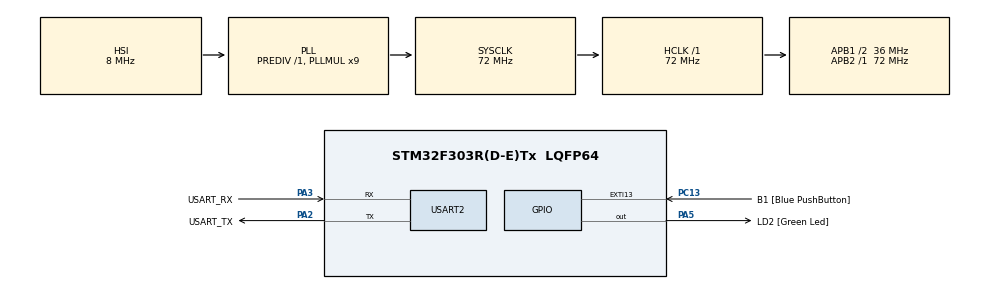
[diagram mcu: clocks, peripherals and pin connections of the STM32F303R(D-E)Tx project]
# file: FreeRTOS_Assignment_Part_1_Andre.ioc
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FREERTOS.Mutexes01=BlockSprinkler1,Dynamic,NULL;BlockScene2,Dynamic,NULL;BlockScene1,Dynamic,NULL;BlockScene3,Dynamic,NULL;BlockSprinkler2,Dynamic,NULL;BlockSprinkler3,Dynamic,NULL
FREERTOS.Queues01=myQueue01,16,uint16_t,0,Dynamic,NULL,NULL;myQueue02,16,uint16_t,0,Dynamic,NULL,NULL
FREERTOS.Tasks01=StartTerminal,24,128,Terminal,Default,NULL,Dynamic,NULL,NULL;StartScene,24,128,execScene,Default,NULL,Dynamic,NULL,NULL
FREERTOS.configUSE_NEWLIB_REENTRANT=1
Mcu.Family=STM32F3
Mcu.Name=STM32F303R(D-E)Tx
Mcu.Package=LQFP64
NVIC.PriorityGroup=NVIC_PRIORITYGROUP_4
NVIC.TIM6_DAC_IRQn=true\:15\:0\:false\:false\:true\:false\:false\:true\:true
NVIC.TimeBase=TIM6_DAC_IRQn
NVIC.TimeBaseIP=TIM6
PA13.GPIO_Label=TMS
PA13.Mode=Serial_Wire
PA13.Signal=SYS_JTMS-SWDIO
PA14.GPIO_Label=TCK
PA14.Mode=Serial_Wire
PA14.Signal=SYS_JTCK-SWCLK
PA2.GPIO_Label=USART_TX
PA2.GPIO_Mode=GPIO_MODE_AF_PP
PA2.GPIO_PuPd=GPIO_NOPULL
PA2.GPIO_Speed=GPIO_SPEED_FREQ_LOW
PA2.Mode=Asynchronous
PA2.Signal=USART2_TX
PA3.GPIO_Label=USART_RX
PA3.GPIO_Mode=GPIO_MODE_AF_PP
PA3.GPIO_PuPd=GPIO_NOPULL
PA3.GPIO_Speed=GPIO_SPEED_FREQ_LOW
PA3.Mode=Asynchronous
PA3.Signal=USART2_RX
PA5.GPIO_Label=LD2 [Green Led]
PA5.GPIO_Mode=GPIO_MODE_OUTPUT_PP
PA5.GPIO_PuPd=GPIO_NOPULL
PA5.GPIO_Speed=GPIO_SPEED_FREQ_LOW
PA5.Signal=GPIO_Output
PB3.GPIO_Label=SWO
PB3.Signal=SYS_JTDO-TRACESWO
PC13.GPIO_Label=B1 [Blue PushButton]
PC13.GPIO_ModeDefaultEXTI=GPIO_MODE_IT_FALLING
PC13.Signal=GPXTI13
PC14-OSC32_IN.Mode=LSE-External-Oscillator
PC14-OSC32_IN.Signal=RCC_OSC32_IN
PC15-OSC32_OUT.Mode=LSE-External-Oscillator
PC15-OSC32_OUT.Signal=RCC_OSC32_OUT
PF0-OSC_IN.Mode=HSE-External-Clock-Source
PF0-OSC_IN.Signal=RCC_OSC_IN
PF1-OSC_OUT.Signal=RCC_OSC_OUT
ProjectManager.HeapSize=0x200
ProjectManager.StackSize=0x400
ProjectManager.TargetToolchain=STM32CubeIDE
RCC.AHBFreq_Value=72000000
RCC.APB1CLKDivider=RCC_HCLK_DIV2
RCC.APB1Freq_Value=36000000
RCC.APB1TimFreq_Value=72000000
RCC.APB2Freq_Value=72000000
RCC.APB2TimFreq_Value=72000000
RCC.CortexFreq_Value=72000000
RCC.HCLKFreq_Value=72000000
RCC.HSE_VALUE=8000000
RCC.HSI_VALUE=8000000
RCC.PLLM=8
RCC.PLLMUL=RCC_PLL_MUL9
RCC.PLLN=336
RCC.PLLP=RCC_PLLP_DIV4
RCC.PLLQ=7
RCC.RCC_PLLsource_Clock_Source_FROM_HSE=RCC_HSE_PREDIV_DIV2
RCC.SYSCLKFreq_VALUE=72000000
RCC.SYSCLKSourceVirtual=RCC_SYSCLKSOURCE_PLLCLK
RCC.USBFreq_Value=72000000
USART2.VirtualMode-Asynchronous=VM_ASYNC
VP_FREERTOS_VS_CMSIS_V2.Mode=CMSIS_V2
VP_SYS_VS_tim6.Mode=TIM6
board=NUCLEO-F303RE

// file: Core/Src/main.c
/* USER CODE BEGIN Header */
/**
  ******************************************************************************
  * @file           : main.c
  * @brief          : Main program body
  ******************************************************************************
  * @attention
  *
  * Copyright (c) 2022 STMicroelectronics.
  * All rights reserved.
  *
  * This software is licensed under terms that can be found in the LICENSE file
  * in the root directory of this software component.
  * If no LICENSE file comes with this software, it is provided AS-IS.
  *
  ******************************************************************************
  */
/* USER CODE END Header */
#include "main.h"
#include "cmsis_os.h"

/* USER CODE BEGIN Includes */
#include "stdio.h"
#include "string.h"
/* USER CODE END Includes */

UART_HandleTypeDef huart2;

/* Definitions for StartTerminal */
osThreadId_t StartTerminalHandle;
const osThreadAttr_t StartTerminal_attributes = {
  .name = "StartTerminal",
  .stack_size = 128 * 4,
  .priority = (osPriority_t) osPriorityNormal,
};
/* Definitions for StartScene */
osThreadId_t StartSceneHandle;
const osThreadAttr_t StartScene_attributes = {
  .name = "StartScene",
  .stack_size = 128 * 4,
  .priority = (osPriority_t) osPriorityNormal,
};
/* Definitions for myQueue01 */
osMessageQueueId_t myQueue01Handle;
const osMessageQueueAttr_t myQueue01_attributes = {
  .name = "myQueue01"
};
/* Definitions for myQueue02 */
osMessageQueueId_t myQueue02Handle;
const osMessageQueueAttr_t myQueue02_attributes = {
  .name = "myQueue02"
};
/* Definitions for BlockSprinkler1 */
osMutexId_t BlockSprinkler1Handle;
const osMutexAttr_t BlockSprinkler1_attributes = {
  .name = "BlockSprinkler1"
};
/* Definitions for BlockScene2 */
osMutexId_t BlockScene2Handle;
const osMutexAttr_t BlockScene2_attributes = {
  .name = "BlockScene2"
};
/* Definitions for BlockScene1 */
osMutexId_t BlockScene1Handle;
const osMutexAttr_t BlockScene1_attributes = {
  .name = "BlockScene1"
};
/* Definitions for BlockScene3 */
osMutexId_t BlockScene3Handle;
const osMutexAttr_t BlockScene3_attributes = {
  .name = "BlockScene3"
};
/* Definitions for BlockSprinkler2 */
osMutexId_t BlockSprinkler2Handle;
const osMutexAttr_t BlockSprinkler2_attributes = {
  .name = "BlockSprinkler2"
};
/* Definitions for BlockSprinkler3 */
osMutexId_t BlockSprinkler3Handle;
const osMutexAttr_t BlockSprinkler3_attributes = {
  .name = "BlockSprinkler3"
};
/* USER CODE BEGIN PV */

enum task_name {
	SPRINKLER1HIGH,
	SPRINKLER2HIGH,
	SPRINKLER3HIGH,
	SPRINKLER1LOW,
	SPRINKLER2LOW,
	SPRINKLER3LOW,
	DELAY,
};

uint8_t Scene1[] = {SPRINKLER1HIGH, DELAY, SPRINKLER1LOW, SPRINKLER2HIGH, DELAY, SPRINKLER2LOW};
uint8_t Scene2[] = {SPRINKLER2HIGH, DELAY, SPRINKLER2LOW, SPRINKLER3HIGH, DELAY, SPRINKLER3LOW};
uint8_t Scene3[] = {SPRINKLER3HIGH, DELAY, SPRINKLER3LOW, SPRINKLER2HIGH, DELAY, SPRINKLER2LOW};

#define ARRAY_SIZE 6

/* USER CODE END PV */

void SystemClock_Config(void);
static void MX_GPIO_Init(void);
static void MX_USART2_UART_Init(void);
void Terminal(void *argument);
void execScene(void *argument);

/* USER CODE BEGIN PFP */
//*****************************************************************************
//                             GPIO PIN CONFIG
void SetMode(GPIO_TypeDef *, uint8_t, uint8_t);
void SetType(GPIO_TypeDef *, uint8_t, uint8_t);
void SetSpeed(GPIO_TypeDef *, uint8_t, uint8_t);
void SetPullType(GPIO_TypeDef *, uint8_t, uint8_t);
void SetPin(GPIO_TypeDef *, uint8_t, uint8_t, uint8_t, uint8_t, uint8_t);
osStatus_t BlockSprinkler1;
osStatus_t BlockSprinkler2;
osStatus_t BlockSprinkler3;
osStatus_t BlockScene1;
osStatus_t BlockScene2;
osStatus_t BlockScene3;

/* USER CODE END PFP */

int main(void)
{
  /* USER CODE BEGIN 1 */
	RCC->AHBENR |= RCC_AHBENR_GPIOAEN; 	//enable the bus for port A.
	RCC->AHBENR |= RCC_AHBENR_GPIOBEN; 	//enable the bus for port B.
	RCC->AHBENR |= RCC_AHBENR_GPIOCEN; 	//enable the bus for port C.

	SetPin(GPIOC, 7, OUTPUT, PUSHPULL, LOWSPEED, NOPULL); 	// (PC7) LED0
	SetPin(GPIOB, 5, OUTPUT, PUSHPULL, LOWSPEED, NOPULL); 	// (PB5) LED1
	SetPin(GPIOA, 10, OUTPUT, PUSHPULL, LOWSPEED, NOPULL); 	// (PA10) LED2

  /* USER CODE END 1 */

  /* MCU Configuration--------------------------------------------------------*/

  /* Reset of all peripherals, Initializes the Flash interface and the Systick. */
  HAL_Init();

  /* Configure the system clock */
  SystemClock_Config();

  /* Initialize all configured peripherals */
  MX_GPIO_Init();
  MX_USART2_UART_Init();

  /* Init scheduler */
  osKernelInitialize();
  /* Create the mutex(es) */
  /* creation of BlockSprinkler1 */
  BlockSprinkler1Handle = osMutexNew(&BlockSprinkler1_attributes);

  /* creation of BlockScene2 */
  BlockScene2Handle = osMutexNew(&BlockScene2_attributes);

  /* creation of BlockScene1 */
  BlockScene1Handle = osMutexNew(&BlockScene1_attributes);

  /* creation of BlockScene3 */
  BlockScene3Handle = osMutexNew(&BlockScene3_attributes);

  /* creation of BlockSprinkler2 */
  BlockSprinkler2Handle = osMutexNew(&BlockSprinkler2_attributes);

  /* creation of BlockSprinkler3 */
  BlockSprinkler3Handle = osMutexNew(&BlockSprinkler3_attributes);

  /* Create the queue(s) */
  /* creation of myQueue01 */
  myQueue01Handle = osMessageQueueNew (1000, sizeof(uint16_t), &myQueue01_attributes);

  /* creation of myQueue02 */
  myQueue02Handle = osMessageQueueNew (1000, sizeof(uint16_t), &myQueue02_attributes);

  /* Create the thread(s) */
  /* creation of StartTerminal */
  StartTerminalHandle = osThreadNew(Terminal, NULL, &StartTerminal_attributes);

  /* creation of StartScene */
  StartSceneHandle = osThreadNew(execScene, NULL, &StartScene_attributes);

  /* Start scheduler */
  osKernelStart();

  /* We should never get here as control is now taken by the scheduler */
  /* Infinite loop */
  while (1)
  {

  }
}

void SystemClock_Config(void)
{
  RCC_OscInitTypeDef RCC_OscInitStruct = {0};
  RCC_ClkInitTypeDef RCC_ClkInitStruct = {0};
  RCC_PeriphCLKInitTypeDef PeriphClkInit = {0};

  /** Initializes the RCC Oscillators according to the specified parameters
  * in the RCC_OscInitTypeDef structure.
  */
  RCC_OscInitStruct.OscillatorType = RCC_OSCILLATORTYPE_HSI;
  RCC_OscInitStruct.HSIState = RCC_HSI_ON;
  RCC_OscInitStruct.HSICalibrationValue = RCC_HSICALIBRATION_DEFAULT;
  RCC_OscInitStruct.PLL.PLLState = RCC_PLL_ON;
  RCC_OscInitStruct.PLL.PLLSource = RCC_PLLSOURCE_HSI;
  RCC_OscInitStruct.PLL.PLLMUL = RCC_PLL_MUL9;
  RCC_OscInitStruct.PLL.PREDIV = RCC_PREDIV_DIV1;
  if (HAL_RCC_OscConfig(&RCC_OscInitStruct) != HAL_OK)
  {
    Error_Handler();
  }

  /** Initializes the CPU, AHB and APB buses clocks
  */
  RCC_ClkInitStruct.ClockType = RCC_CLOCKTYPE_HCLK|RCC_CLOCKTYPE_SYSCLK
                              |RCC_CLOCKTYPE_PCLK1|RCC_CLOCKTYPE_PCLK2;
  RCC_ClkInitStruct.SYSCLKSource = RCC_SYSCLKSOURCE_PLLCLK;
  RCC_ClkInitStruct.AHBCLKDivider = RCC_SYSCLK_DIV1;
  RCC_ClkInitStruct.APB1CLKDivider = RCC_HCLK_DIV2;
  RCC_ClkInitStruct.APB2CLKDivider = RCC_HCLK_DIV1;

  if (HAL_RCC_ClockConfig(&RCC_ClkInitStruct, FLASH_LATENCY_2) != HAL_OK)
  {
    Error_Handler();
  }
  PeriphClkInit.PeriphClockSelection = RCC_PERIPHCLK_USART2;
  PeriphClkInit.Usart2ClockSelection = RCC_USART2CLKSOURCE_PCLK1;
  if (HAL_RCCEx_PeriphCLKConfig(&PeriphClkInit) != HAL_OK)
  {
    Error_Handler();
  }
}

static void MX_USART2_UART_Init(void)
{

  huart2.Instance = USART2;
  huart2.Init.BaudRate = 38400;
  huart2.Init.WordLength = UART_WORDLENGTH_8B;
  huart2.Init.StopBits = UART_STOPBITS_1;
  huart2.Init.Parity = UART_PARITY_NONE;
  huart2.Init.Mode = UART_MODE_TX_RX;
  huart2.Init.HwFlowCtl = UART_HWCONTROL_NONE;
  huart2.Init.OverSampling = UART_OVERSAMPLING_16;
  huart2.Init.OneBitSampling = UART_ONE_BIT_SAMPLE_DISABLE;
  huart2.AdvancedInit.AdvFeatureInit = UART_ADVFEATURE_NO_INIT;
  if (HAL_UART_Init(&huart2) != HAL_OK)
  {
    Error_Handler();
  }

}

static void MX_GPIO_Init(void)
{
  GPIO_InitTypeDef GPIO_InitStruct = {0};

  /* GPIO Ports Clock Enable */
  __HAL_RCC_GPIOC_CLK_ENABLE();
  __HAL_RCC_GPIOF_CLK_ENABLE();
  __HAL_RCC_GPIOA_CLK_ENABLE();
  __HAL_RCC_GPIOB_CLK_ENABLE();

  /*Configure GPIO pin Output Level */
  HAL_GPIO_WritePin(LD2_GPIO_Port, LD2_Pin, GPIO_PIN_RESET);

  /*Configure GPIO pin : B1_Pin */
  GPIO_InitStruct.Pin = B1_Pin;
  GPIO_InitStruct.Mode = GPIO_MODE_IT_FALLING;
  GPIO_InitStruct.Pull = GPIO_NOPULL;
  HAL_GPIO_Init(B1_GPIO_Port, &GPIO_InitStruct);

  /*Configure GPIO pin : LD2_Pin */
  GPIO_InitStruct.Pin = LD2_Pin;
  GPIO_InitStruct.Mode = GPIO_MODE_OUTPUT_PP;
  GPIO_InitStruct.Pull = GPIO_NOPULL;
  GPIO_InitStruct.Speed = GPIO_SPEED_FREQ_LOW;
  HAL_GPIO_Init(LD2_GPIO_Port, &GPIO_InitStruct);

}

/* USER CODE BEGIN 4 */

//*****************************************************************************
//                         Register settings for GPIO
void SetMode(GPIO_TypeDef * PORT, uint8_t pin, uint8_t mode){
	PORT->MODER |= (mode << (pin * 2)); // Times 2 because register occupies 2 bits for each MODER.
}

void SetType(GPIO_TypeDef * PORT, uint8_t pin, uint8_t type){
	PORT->OTYPER |= (type << pin);
}

void SetSpeed(GPIO_TypeDef * PORT, uint8_t pin, uint8_t speed){
	PORT->OSPEEDR |= (speed << (pin * 2));
}

void SetPullType(GPIO_TypeDef * PORT, uint8_t pin, uint8_t pulltype){
	PORT->PUPDR |= (pulltype << (pin * 2));
}

void SetPin(GPIO_TypeDef * PORT, uint8_t pin, uint8_t mode, uint8_t type, uint8_t speed, uint8_t pulltype){

	SetMode(PORT, pin, mode);
	SetType(PORT, pin, type);
	SetSpeed(PORT, pin, speed);
	SetPullType(PORT, pin, pulltype);
}

void Tasks(uint8_t msg_ptr)
{
	osStatus_t status;
	status = osMessageQueueGet(myQueue02Handle, &msg_ptr, 0U, 0U);   // wait for message
		if (status == osOK) {
			switch (msg_ptr) {
				case SPRINKLER1HIGH:
					BlockSprinkler1 = osMutexAcquire(BlockSprinkler1Handle, 0U);

					if (BlockSprinkler1 == osOK)
					GPIOA->BSRR |= GPIO_BSRR_BS_10;
					break;
				case SPRINKLER2HIGH:
					BlockSprinkler2 = osMutexAcquire(BlockSprinkler2Handle, 0U);

					if (BlockSprinkler2 == osOK)
					GPIOB->BSRR |= GPIO_BSRR_BS_5;
					break;
				case SPRINKLER3HIGH:
					BlockSprinkler3 = osMutexAcquire(BlockSprinkler3Handle, 0U);

					if (BlockSprinkler3 == osOK)
					GPIOC->BSRR |= GPIO_BSRR_BS_7;
					break;
				case SPRINKLER1LOW:
					GPIOA->BSRR |= GPIO_BSRR_BR_10;
					BlockSprinkler1 = osMutexRelease(BlockSprinkler1Handle);
					break;
				case SPRINKLER2LOW:
					GPIOB->BSRR |= GPIO_BSRR_BR_5;
					BlockSprinkler2 = osMutexRelease(BlockSprinkler2Handle);
					break;
				case SPRINKLER3LOW:
					GPIOC->BSRR |= GPIO_BSRR_BR_7;
					BlockSprinkler3 = osMutexRelease(BlockSprinkler3Handle);
					break;
				case DELAY:
					osDelay(3000);
					break;
				default:
					osThreadTerminate(NULL);
					break;
			}
		}
}
/* USER CODE END 4 */

void Terminal(void *argument)
{
  /* USER CODE BEGIN 5 */

	/* Infinite loop */
	for(;;)
	{
		uint8_t rxChar;
		HAL_StatusTypeDef status;
		USART2->ICR |= USART_ICR_ORECF; // Clear the overrun error bit.
		// Set timeout to 0 so it will not block,
		// just read one character if available.
		status = HAL_UART_Receive(&huart2, &rxChar, 1, 0);
		if (status == HAL_OK) // No HAL_TIMEOUT, so a character is read.
		{
			StartSceneHandle = osThreadNew(execScene, &rxChar, &StartScene_attributes);
		}
	}
	osThreadTerminate(NULL);
  /* USER CODE END 5 */
}

void execScene(void *argument)
{
  /* USER CODE BEGIN execScene */
	char *rxChar = (char*) argument;
	osStatus_t status;
	osMessageQueuePut(myQueue01Handle,&rxChar, 0U, 0U);

	status = osMessageQueueGet(myQueue01Handle, &rxChar, 0U, 0U);   // wait for message
		if (status == osOK) {

			switch (*rxChar) {
				case '1':
					BlockScene1 = osMutexAcquire(BlockScene1Handle, 0U);
					if (BlockScene1 == osOK)  {
						for(uint8_t i = 0; i<ARRAY_SIZE; i++)
						{
							osMessageQueuePut(myQueue02Handle,&Scene1[i], 0U, 0U);
							Tasks(Scene1[i]);
						}
					}
					BlockScene1 = osMutexRelease(BlockScene1Handle);
					break;
				case '2':
					BlockScene2 = osMutexAcquire(BlockScene2Handle, 0U);
					if (BlockScene2 == osOK)  {
						for(uint8_t i = 0; i<ARRAY_SIZE; i++)
						{
							osMessageQueuePut(myQueue02Handle,&Scene2[i], 0U, 0U);
							Tasks(Scene2[i]);
						}
					}
					BlockScene2 = osMutexRelease(BlockScene2Handle);
					break;
				case '3':
					BlockScene3 = osMutexAcquire(BlockScene3Handle, 0U);
					if (BlockScene3 == osOK)  {
						for(uint8_t i = 0; i<ARRAY_SIZE; i++)
						{
							osMessageQueuePut(myQueue02Handle,&Scene3[i], 0U, 0U);
							Tasks(Scene3[i]);
						}
					}
					BlockScene3 = osMutexRelease(BlockScene3Handle);
					break;
				case '4':
					osMessageQueueDelete(myQueue01Handle);
					break;
				default:
					break;
		}
    }
	osThreadExit();
  /* USER CODE END execScene */
}

void HAL_TIM_PeriodElapsedCallback(TIM_HandleTypeDef *htim)
{
  if (htim->Instance == TIM6) {
    HAL_IncTick();
  }
}

void Error_Handler(void)
{
  __disable_irq();
  while (1)
  {
  }
}
